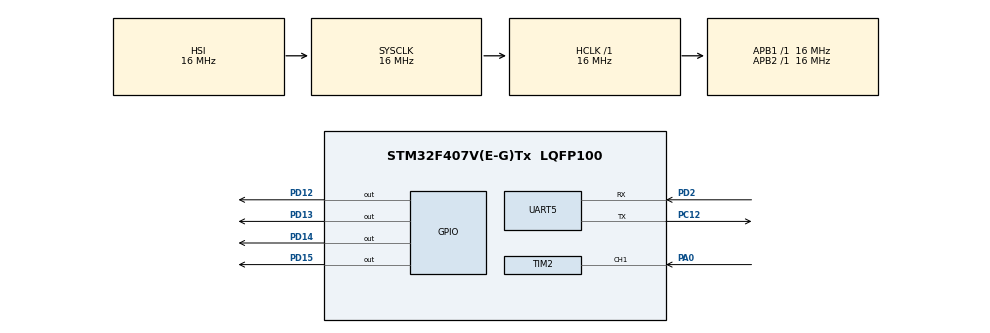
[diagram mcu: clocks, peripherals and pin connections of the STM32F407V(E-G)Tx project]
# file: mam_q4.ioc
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IWDG.Prescaler=IWDG_PRESCALER_64
Mcu.Family=STM32F4
Mcu.Name=STM32F407V(E-G)Tx
Mcu.Package=LQFP100
NVIC.PriorityGroup=NVIC_PRIORITYGROUP_4
NVIC.TIM2_IRQn=true\:0\:0\:false\:false\:true\:true\:true\:true
PA0-WKUP.Signal=S_TIM2_CH1_ETR
PC12.Mode=Asynchronous
PC12.Signal=UART5_TX
PD12.Signal=GPIO_Output
PD13.Signal=GPIO_Output
PD14.Signal=GPIO_Output
PD15.Signal=GPIO_Output
PD2.Mode=Asynchronous
PD2.Signal=UART5_RX
ProjectManager.HeapSize=0x200
ProjectManager.StackSize=0x400
ProjectManager.TargetToolchain=STM32CubeIDE
RCC.AHBFreq_Value=16000000
RCC.APB1Freq_Value=16000000
RCC.APB2Freq_Value=16000000
RCC.CortexFreq_Value=16000000
RCC.HSE_VALUE=25000000
RCC.HSI_VALUE=16000000
RCC.LSE_VALUE=32768
RCC.SYSCLKFreq_VALUE=16000000
RCC.VCOOutputFreq_Value=192000000
SH.S_TIM2_CH1_ETR.0=TIM2_CH1,Input_Capture1_from_TI1
TIM2.Channel-Input_Capture1_from_TI1=TIM_CHANNEL_1
TIM2.Period=10000
TIM2.Prescaler=16000
TIM2.TIM_MasterOutputTrigger=TIM_TRGO_UPDATE
UART5.VirtualMode=Asynchronous
VP_IWDG_VS_IWDG.Mode=IWDG_Activate
VP_TIM2_VS_ClockSourceINT.Mode=Internal
board=custom

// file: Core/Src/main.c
/* USER CODE BEGIN Header */
/**
  ******************************************************************************
  * @file           : main.c
  * @brief          : Main program body
  ******************************************************************************
  * @attention
  *
  * Copyright (c) 2024 STMicroelectronics.
  * All rights reserved.
  *
  * This software is licensed under terms that can be found in the LICENSE file
  * in the root directory of this software component.
  * If no LICENSE file comes with this software, it is provided AS-IS.
  *
  ******************************************************************************
  */
/* USER CODE END Header */
#include "main.h"

/* USER CODE BEGIN Includes */
#include "string.h"
#include "stdio.h"

/* USER CODE END Includes */

IWDG_HandleTypeDef hiwdg;

TIM_HandleTypeDef htim2;

UART_HandleTypeDef huart5;

/* USER CODE BEGIN PV */
uint32_t ccr,count;
uint8_t button;
char status[10];
/* USER CODE END PV */

void SystemClock_Config(void);
static void MX_GPIO_Init(void);
static void MX_IWDG_Init(void);
static void MX_TIM2_Init(void);
static void MX_UART5_Init(void);

int main(void)
{

  /* MCU Configuration--------------------------------------------------------*/

  /* Reset of all peripherals, Initializes the Flash interface and the Systick. */
  HAL_Init();

  /* Configure the system clock */
  SystemClock_Config();

  /* Initialize all configured peripherals */
  MX_GPIO_Init();
  MX_IWDG_Init();
  MX_TIM2_Init();
  MX_UART5_Init();
  /* USER CODE BEGIN 2 */
HAL_IWDG_Init(&hiwdg);
HAL_TIM_IC_Start_IT(&htim2, TIM_CHANNEL_1);
  /* USER CODE END 2 */

  /* Infinite loop */
  while (1)
  {

    /* USER CODE BEGIN 3 */
	  count=__HAL_TIM_GET_COUNTER(&htim2);

	  if(ccr >= 1 && ccr <= 3000)
	  {
		  HAL_IWDG_Refresh(&hiwdg);
		  HAL_GPIO_TogglePin(GPIOD, GPIO_PIN_12);
		  HAL_Delay(200);
		  HAL_GPIO_TogglePin(GPIOD, GPIO_PIN_13);
		  HAL_Delay(200);
		  HAL_GPIO_TogglePin(GPIOD, GPIO_PIN_14);
		  HAL_Delay(200);
		  HAL_GPIO_TogglePin(GPIOD, GPIO_PIN_15);
		  HAL_Delay(200);
	  }
	  else if(ccr >= 3000 && ccr <= 6000)
	 	  {
	 		  HAL_IWDG_Refresh(&hiwdg);
	 		  HAL_GPIO_TogglePin(GPIOD, GPIO_PIN_15);
	 		  HAL_Delay(200);
	 		  HAL_GPIO_TogglePin(GPIOD, GPIO_PIN_14);
	 		  HAL_Delay(200);
	 		  HAL_GPIO_TogglePin(GPIOD, GPIO_PIN_13);
	 		  HAL_Delay(200);
	 		  HAL_GPIO_TogglePin(GPIOD, GPIO_PIN_12);
	 		  HAL_Delay(200);
	 	  }
	  else
	  {
		  HAL_GPIO_TogglePin(GPIOD, GPIO_PIN_12);
	  }

  }
  /* USER CODE END 3 */
}

void SystemClock_Config(void)
{
  RCC_OscInitTypeDef RCC_OscInitStruct = {0};
  RCC_ClkInitTypeDef RCC_ClkInitStruct = {0};

  /** Configure the main internal regulator output voltage
  */
  __HAL_RCC_PWR_CLK_ENABLE();
  __HAL_PWR_VOLTAGESCALING_CONFIG(PWR_REGULATOR_VOLTAGE_SCALE1);

  /** Initializes the RCC Oscillators according to the specified parameters
  * in the RCC_OscInitTypeDef structure.
  */
  RCC_OscInitStruct.OscillatorType = RCC_OSCILLATORTYPE_HSI|RCC_OSCILLATORTYPE_LSI;
  RCC_OscInitStruct.HSIState = RCC_HSI_ON;
  RCC_OscInitStruct.HSICalibrationValue = RCC_HSICALIBRATION_DEFAULT;
  RCC_OscInitStruct.LSIState = RCC_LSI_ON;
  RCC_OscInitStruct.PLL.PLLState = RCC_PLL_NONE;
  if (HAL_RCC_OscConfig(&RCC_OscInitStruct) != HAL_OK)
  {
    Error_Handler();
  }

  /** Initializes the CPU, AHB and APB buses clocks
  */
  RCC_ClkInitStruct.ClockType = RCC_CLOCKTYPE_HCLK|RCC_CLOCKTYPE_SYSCLK
                              |RCC_CLOCKTYPE_PCLK1|RCC_CLOCKTYPE_PCLK2;
  RCC_ClkInitStruct.SYSCLKSource = RCC_SYSCLKSOURCE_HSI;
  RCC_ClkInitStruct.AHBCLKDivider = RCC_SYSCLK_DIV1;
  RCC_ClkInitStruct.APB1CLKDivider = RCC_HCLK_DIV1;
  RCC_ClkInitStruct.APB2CLKDivider = RCC_HCLK_DIV1;

  if (HAL_RCC_ClockConfig(&RCC_ClkInitStruct, FLASH_LATENCY_0) != HAL_OK)
  {
    Error_Handler();
  }
}

static void MX_IWDG_Init(void)
{

  hiwdg.Instance = IWDG;
  hiwdg.Init.Prescaler = IWDG_PRESCALER_64;
  hiwdg.Init.Reload = 4095;
  if (HAL_IWDG_Init(&hiwdg) != HAL_OK)
  {
    Error_Handler();
  }

}

static void MX_TIM2_Init(void)
{

  TIM_ClockConfigTypeDef sClockSourceConfig = {0};
  TIM_MasterConfigTypeDef sMasterConfig = {0};
  TIM_IC_InitTypeDef sConfigIC = {0};

  htim2.Instance = TIM2;
  htim2.Init.Prescaler = 16000;
  htim2.Init.CounterMode = TIM_COUNTERMODE_UP;
  htim2.Init.Period = 10000;
  htim2.Init.ClockDivision = TIM_CLOCKDIVISION_DIV1;
  htim2.Init.AutoReloadPreload = TIM_AUTORELOAD_PRELOAD_DISABLE;
  if (HAL_TIM_Base_Init(&htim2) != HAL_OK)
  {
    Error_Handler();
  }
  sClockSourceConfig.ClockSource = TIM_CLOCKSOURCE_INTERNAL;
  if (HAL_TIM_ConfigClockSource(&htim2, &sClockSourceConfig) != HAL_OK)
  {
    Error_Handler();
  }
  if (HAL_TIM_IC_Init(&htim2) != HAL_OK)
  {
    Error_Handler();
  }
  sMasterConfig.MasterOutputTrigger = TIM_TRGO_UPDATE;
  sMasterConfig.MasterSlaveMode = TIM_MASTERSLAVEMODE_DISABLE;
  if (HAL_TIMEx_MasterConfigSynchronization(&htim2, &sMasterConfig) != HAL_OK)
  {
    Error_Handler();
  }
  sConfigIC.ICPolarity = TIM_INPUTCHANNELPOLARITY_RISING;
  sConfigIC.ICSelection = TIM_ICSELECTION_DIRECTTI;
  sConfigIC.ICPrescaler = TIM_ICPSC_DIV1;
  sConfigIC.ICFilter = 0;
  if (HAL_TIM_IC_ConfigChannel(&htim2, &sConfigIC, TIM_CHANNEL_1) != HAL_OK)
  {
    Error_Handler();
  }

}

static void MX_UART5_Init(void)
{

  huart5.Instance = UART5;
  huart5.Init.BaudRate = 115200;
  huart5.Init.WordLength = UART_WORDLENGTH_8B;
  huart5.Init.StopBits = UART_STOPBITS_1;
  huart5.Init.Parity = UART_PARITY_NONE;
  huart5.Init.Mode = UART_MODE_TX_RX;
  huart5.Init.HwFlowCtl = UART_HWCONTROL_NONE;
  huart5.Init.OverSampling = UART_OVERSAMPLING_16;
  if (HAL_UART_Init(&huart5) != HAL_OK)
  {
    Error_Handler();
  }

}

static void MX_GPIO_Init(void)
{
  GPIO_InitTypeDef GPIO_InitStruct = {0};

  /* GPIO Ports Clock Enable */
  __HAL_RCC_GPIOA_CLK_ENABLE();
  __HAL_RCC_GPIOD_CLK_ENABLE();
  __HAL_RCC_GPIOC_CLK_ENABLE();

  /*Configure GPIO pin Output Level */
  HAL_GPIO_WritePin(GPIOD, GPIO_PIN_12|GPIO_PIN_13|GPIO_PIN_14|GPIO_PIN_15, GPIO_PIN_RESET);

  /*Configure GPIO pins : PD12 PD13 PD14 PD15 */
  GPIO_InitStruct.Pin = GPIO_PIN_12|GPIO_PIN_13|GPIO_PIN_14|GPIO_PIN_15;
  GPIO_InitStruct.Mode = GPIO_MODE_OUTPUT_PP;
  GPIO_InitStruct.Pull = GPIO_NOPULL;
  GPIO_InitStruct.Speed = GPIO_SPEED_FREQ_LOW;
  HAL_GPIO_Init(GPIOD, &GPIO_InitStruct);

}

/* USER CODE BEGIN 4 */
void HAL_TIM_IC_CaptureCallback(TIM_HandleTypeDef *htim)
{
	   sprintf(status,"1");

		  HAL_UART_Transmit(&huart5,(uint8_t*)status, 1,10);
	ccr=HAL_TIM_ReadCapturedValue(htim, TIM_CHANNEL_1);
}
/* USER CODE END 4 */

void Error_Handler(void)
{
  __disable_irq();
  while (1)
  {
  }
}
